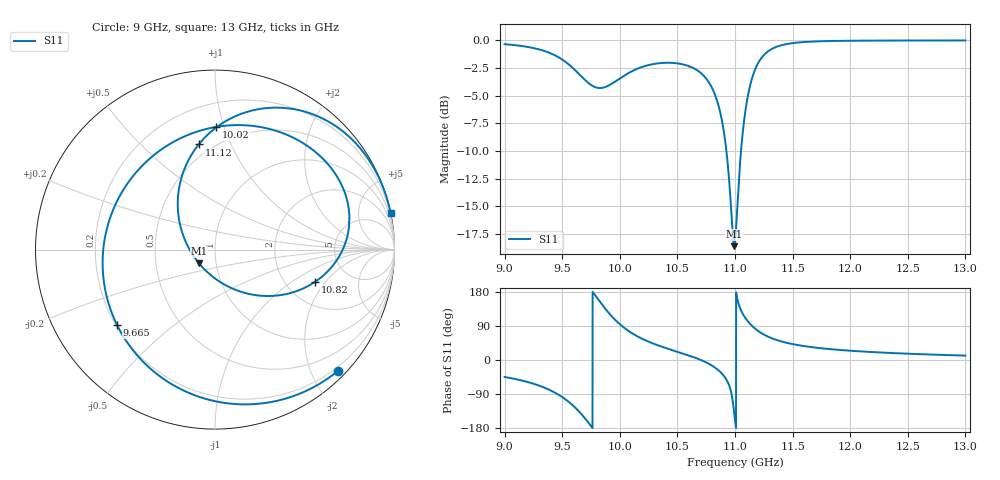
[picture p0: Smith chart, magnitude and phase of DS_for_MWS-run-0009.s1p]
! TOUCHSTONE file generated by CST DESIGN STUDIO
! Date and time: Tue Feb  4 14:40:46 2025
! Project name: C:\Work\MatlabApps\UnitCellOptimizationMatlab\CST\unitcell.cst
! Tree item: Tasks\Sweep1\SPara1\S-Parameters
! Header version: 2024
! Port assignment regex: !\s*Touchstone port\s*([0-9]+)\s*=\s*(CST MWS port|CST DES external port|CST DES block port)\s*(.+)\s* \(\"(.*)\"\)(\s*mode\s*([0-9]+))?.*
! Touchstone port assignment:
! Touchstone port 1 = CST DES external port 1 ("")
# GHz S MA R 50
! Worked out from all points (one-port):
!   4001 points, 9 GHz to 13 GHz, reference 50 ohm
!   lowest |S11| = -18.6 dB at 10.99 GHz (marker M1), VSWR 1.27, Z = 41.3 - j6.33 ohm
!   |S11| at or under -10 dB: 10.93 GHz to 11.05 GHz (126.9 MHz wide, 1.15 % of centre)
!   S11 on the Smith chart (normalised r, x): 9 GHz: 0.13, -2.42; 9.665 GHz: 0.20, -0.33; 10.02 GHz: 0.37, +0.94; 10.82 GHz: 2.88, -1.58; 11.12 GHz: 0.42, +0.76; 13 GHz: 0.01, +9.81
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9  0.9618 -44.8
9.272  0.9183 -64.8
9.402  0.8732 -80.8
9.5  0.8196 -97.8
9.584  0.7575 -117.5
9.665  0.6891 -142.2
9.737  0.6363 -169.1
9.806  0.6104 162.5
9.904  0.6255 124.2
10  0.6731 94.5
10.02  0.6838 89.3
10.24  0.7713 49.6
10.5  0.7875 21.7
10.682  0.7266 2.8
10.816  0.5858 -17.9
10.908  0.3723 -43.8
10.952  0.2225 -69.4
10.993  0.1173 -139.9
11  0.1218 -158.7
11.058  0.3422 127.3
11.121  0.5931 98.8
11.176  0.7422 82.4
11.241  0.8477 68.8
11.356  0.9339 53.3
11.5  0.9724 42.0
12  0.9968 24.5
12.5  0.9993 16.6
13  0.9998 11.6
